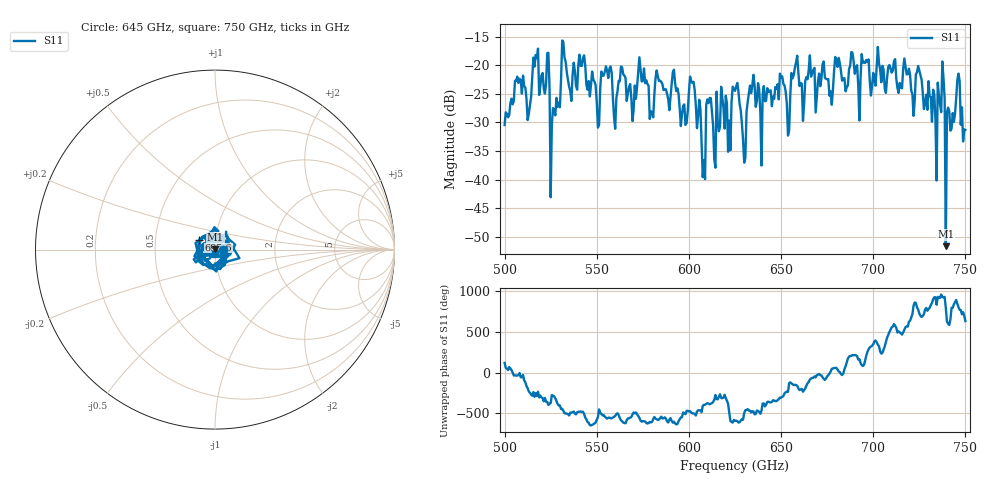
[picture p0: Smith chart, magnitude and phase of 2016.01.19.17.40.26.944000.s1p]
!Created with skrf (http://scikit-rf.org).
# GHz S RI R 50.0
!freq ReS11 ImS11
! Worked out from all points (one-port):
!   401 points, 500 GHz to 750 GHz, reference 50 ohm
!   lowest |S11| = -51.6 dB at 739.4 GHz (marker M1), VSWR 1.01, Z = 50.1 + j0.247 ohm
!   |S11| at or under -10 dB: start of sweep to end of sweep
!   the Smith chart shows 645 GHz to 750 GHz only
!   S11 on the Smith chart (normalised r, x): 645 GHz: 1.09, +0.00; 695.6 GHz: 0.83, +0.09; 750 GHz: 1.00, -0.05
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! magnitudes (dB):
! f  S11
! 500 GHz  -30.5
! 506.9 GHz  -22.0
! 513.1 GHz  -28.5
! 516.9 GHz  -18.2
! 523.1 GHz  -17.9
! 526.2 GHz  -27.5
! 531.2 GHz  -15.7
! 550.6 GHz  -30.9
! 562.5 GHz  -22.8
! 593.8 GHz  -24.0
! 601.9 GHz  -23.1
! 607.5 GHz  -39.5
! 610.6 GHz  -26.7
! 615 GHz  -24.6
! 625 GHz  -24.5
! 630 GHz  -37.0
! 633.8 GHz  -24.9
! 645 GHz  -27.2
! 653.8 GHz  -32.3
! 656.2 GHz  -22.3
! 687.5 GHz  -20.1
! 695.6 GHz  -19.6
! 718.8 GHz  -21.6
! 733.1 GHz  -25.1
! 737.5 GHz  -19.4
! 739.4 GHz  -51.6
! 745.6 GHz  -22.6
! 750 GHz  -31.3
